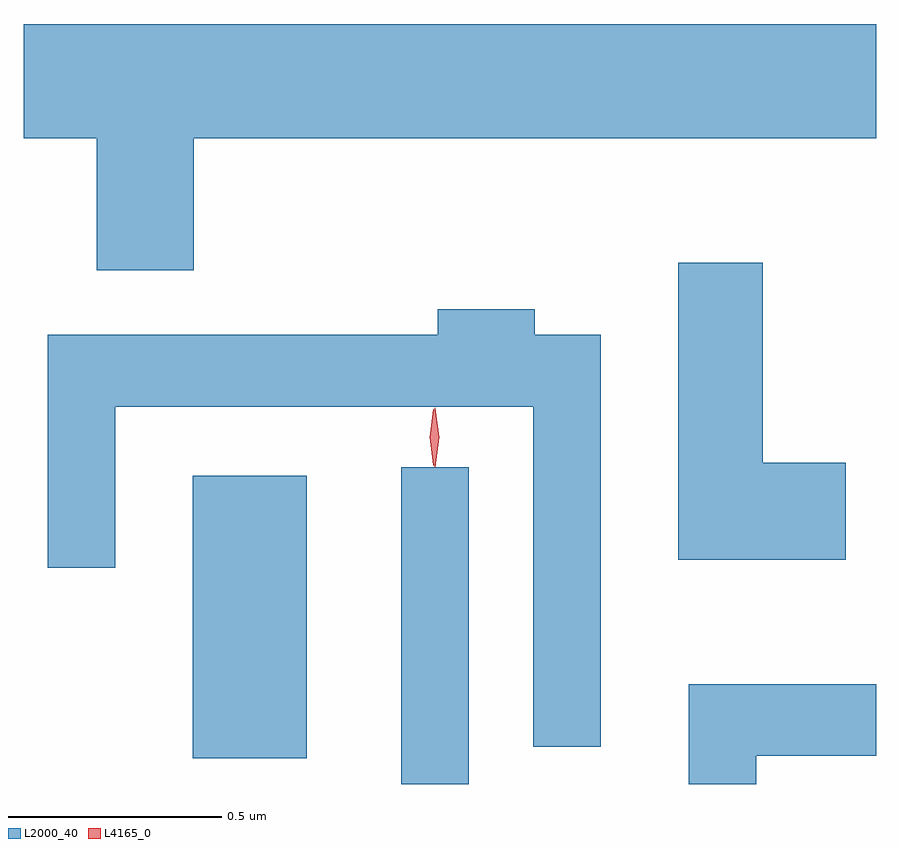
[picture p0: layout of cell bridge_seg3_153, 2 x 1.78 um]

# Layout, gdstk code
import gdstk
lib = gdstk.Library(unit=1e-6, precision=1e-09)
def R(c, l, rs):  # rectangles x0, y0, x1, y1
    for r in rs: c.add(gdstk.rectangle(r[:2], r[2:], *l))
def P(c, l, *ps):  # polygons
    for p in ps: c.add(gdstk.Polygon(p, *l))
L2000_40 = (2000, 40)
L4165_0 = (4165, 0)

bridge_seg3_153 = lib.new_cell('bridge_seg3_153')
R(bridge_seg3_153, L2000_40, [(901.366,1186.66,901.524,1187.403), (900.876,1186.721,901.144,1187.384)])
P(bridge_seg3_153, L2000_40, [(900.879,1188.176),(902.48,1188.176),(902.48,1188.444),(900.48,1188.444),(900.48,1188.176),(900.651,1188.176),(900.651,1187.866),(900.879,1187.866)],
  [(902.409,1187.414),(902.214,1187.414),(902.214,1187.884),(902.016,1187.884),(902.016,1187.186),(902.409,1187.186)],
  [(901.834,1187.714),(901.679,1187.714),(901.679,1187.774),(901.451,1187.774),(901.451,1187.714),(900.536,1187.714),(900.536,1187.168),(900.694,1187.168),(900.694,1187.546),(901.676,1187.546),(901.676,1186.748),(901.834,1186.748)],
  [(902.199,1186.726),(902.48,1186.726),(902.48,1186.894),(902.041,1186.894),(902.041,1186.66),(902.199,1186.66)])
P(bridge_seg3_153, L4165_0, [(901.444,1187.404),(901.435,1187.474),(901.444,1187.542),(901.445,1187.543),(901.445,1187.542),(901.455,1187.474),(901.445,1187.404),(901.445,1187.404)],
  [(901.442,1187.407),(901.441,1187.408),(901.432,1187.474),(901.441,1187.54),(901.442,1187.54),(901.442,1187.54),(901.452,1187.474),(901.442,1187.408)])

lib.write_gds('bridge_seg3_153.gds')
